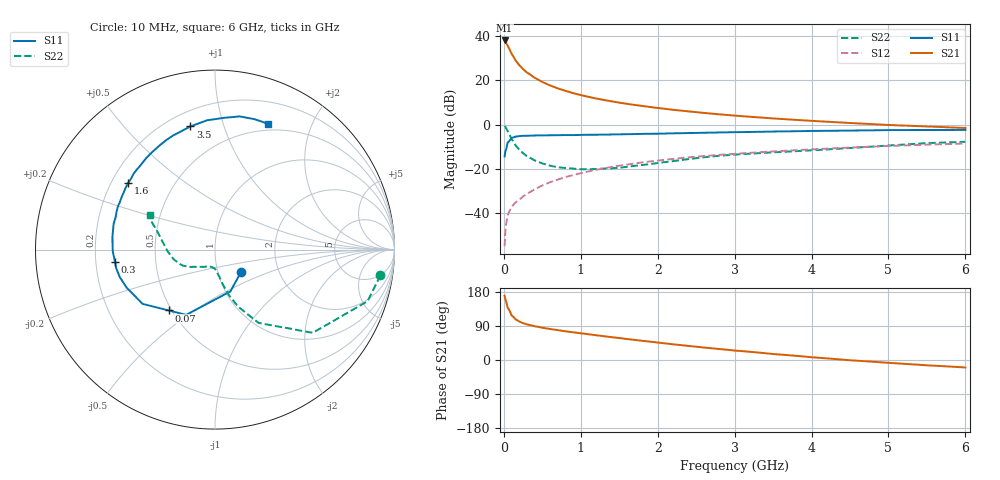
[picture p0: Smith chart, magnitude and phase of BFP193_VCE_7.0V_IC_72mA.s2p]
! Infineon Technologies  Discrete & RF Semiconductors
! BFP193
! VCE =  7.0 V,  IC =  72 mA
! Common Emitter S-Parameters:  Jan 2017
# GHz  S  MA  R  50
!  f  S11  S21  S12  S22
! GHz  MAG  ANG  MAG  ANG  MAG  ANG  MAG  ANG
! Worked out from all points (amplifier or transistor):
!   77 points, 10 MHz to 6 GHz, reference 50 ohm
!   highest |S21| = 38.0 dB at 10 MHz (marker M1)
!   |S21| within 3 dB of that: start of sweep to 59.63 MHz
!   unconditionally stable (mu >= 1): 480.4 MHz to 2.365 GHz
!   at 130 MHz: K = 0.67, MSG = 33.2 dB, |S12| = -36.0 dB
!   at 2.2 GHz: K = 1.01, MAG = 10.5 dB, |S12| = -15.5 dB
!   at 6 GHz: K = 0.92, MSG = 3.5 dB, |S12| = -8.5 dB
!   S11 on the Smith chart (normalised r, x): 10 MHz: 1.29, -0.33; 70 MHz: 0.48, -0.40; 300 MHz: 0.28, -0.05; 1.6 GHz: 0.27, +0.32; 3.5 GHz: 0.29, +0.78; 6 GHz: 0.43, +1.42
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0.01  0.1912 -40.6  79.87 169.6  0.0018 82.1  0.9329 -8.8
0.02  0.2483 -69.8  77.67 160.3  0.0039 74.6  0.8975 -18.7
0.05  0.3974 -113.8  60.96 137.8  0.009 65.1  0.7151 -40.4
0.07  0.4259 -127.2  51.96 131.7  0.0109 62.8  0.6123 -46.1
0.1  0.5041 -143.1  40.17 117.7  0.0137 60.5  0.4758 -59.2
0.15  0.5357 -156.6  28.75 107.7  0.0174 62.1  0.346 -67.7
0.2  0.5518 -163.7  22.19 101.6  0.02 64.3  0.2729 -72.5
0.25  0.5602 -169.4  18 97.1  0.024 64.3  0.2269 -75.2
0.3  0.5614 -173.2  15.1 94.1  0.0272 66.3  0.1938 -77.7
0.4  0.5696 -179.0  11.47 89.1  0.0345 68.3  0.156 -80.6
0.5  0.5723 176.2  9.209 85.2  0.0424 70.3  0.1334 -83.8
0.6  0.5762 172.4  7.72 81.8  0.0501 70.2  0.1185 -86.7
0.7  0.5786 168.9  6.623 78.9  0.0575 70.2  0.1093 -89.2
0.8  0.5828 165.7  5.811 75.8  0.0655 70.5  0.105 -92.0
1.1  0.5919 156.4  4.256 68.0  0.0879 67.7  0.0987 -102.5
1.6  0.6097 142.6  2.958 55.4  0.1256 62.3  0.1117 -120.8
2.1  0.631 129.6  2.276 43.8  0.1613 56.0  0.1429 -137.6
3.1  0.6801 108.5  1.555 23.4  0.2253 43.3  0.2158 -159.7
3.5  0.7 101.3  1.383 15.8  0.249 38.8  0.2374 -167.1
4.1  0.7236 92.0  1.193 5.8  0.2823 31.5  0.2696 179.7
5.1  0.7549 78.2  0.969 -8.7  0.3341 19.9  0.3465 161.1
6  0.7606 67.1  0.841 -19.7  0.3751 9.7  0.4101 152.2
